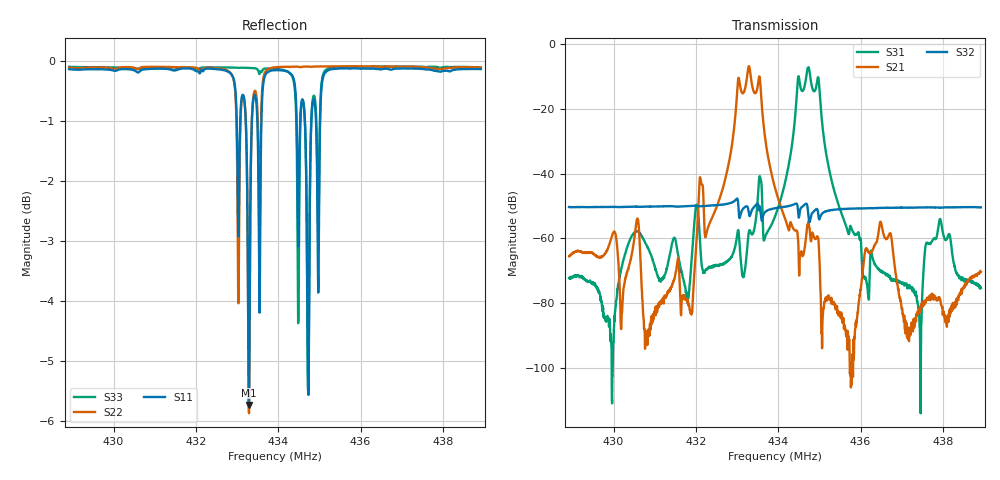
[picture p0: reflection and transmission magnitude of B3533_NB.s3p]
! Matrix data file written by TouchstoneData, EPCOS AG
! FILENAME: "newformat_LZ05A_NB.s3p"
! COMMENT: "(LZ05A_NB.s3p) Epcos AG 31.01.2012 10:27:16"
! INFO: nport=3, nfreq=1601
! DATE: "Tue Jan 31 14:09:12 2012"
! USER: "Wilfried Schott"
! port | pin | signal
!  1  |  1  |  IN
!  2  |  5  |  OUT CH3
!  3  |  7  |  OUT CH2
# MHZ S MA R 50
! freq  magS11 angS11  magS12 angS12  magS13 angS13  ...
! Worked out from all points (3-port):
!   1601 points, 428.92 MHz to 438.92 MHz, reference 50 ohm
!   strongest paths, dB at 428.92 MHz, 431.42 MHz, 433.92 MHz, 436.42 MHz, 438.92 MHz:
!     S32: -50.3, -50.1, -50.7, -50.6, -50.4
!     S21: -65.6, -74.7, -44.4, -59.4, -70.4
!     S31: -72.3, -61.6, -53.2, -69.3, -75.3
!   lowest |S11| = -5.7 dB at 433.28 MHz (marker M1), VSWR 3.14, Z = 79.6 - j70.2 ohm
!   |S11| at or under -10 dB: nowhere
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428.92  0.9839 -34.1  0.0005211 -40.3  0.0002432 -137.3
        0.0005272 -40.0  0.9865 -19.7  0.003033 69.4
        0.0002431 -135.1  0.003051 69.4  0.9882 -20.1
431.87  0.9847 -35.7  6.499e-05 112.1  0.0002846 -2.0
        6.91e-05 104.9  0.9874 -20.9  0.003165 68.3
        0.0002859 -2.3  0.003177 68.5  0.9864 -20.7
432.1138  0.9798 -35.7  0.008087 89.3  0.0006272 162.6
          0.00806 89.2  0.981 -20.9  0.003133 67.9
          0.0006312 163.8  0.003136 68.2  0.9862 -20.5
433.2825  0.5167 -38.7  0.4595 157.5  0.001234 -86.2
          0.4581 157.4  0.5149 -23.4  0.002556 49.4
          0.001236 -86.4  0.002565 49.6  0.9862 -21.6
433.92  0.9818 -32.3  0.006065 -108.5  0.002178 59.2
        0.006026 -108.5  0.9873 -15.5  0.002913 69.8
        0.002178 59.2  0.002924 70.0  0.9844 -22.9
434.7325  0.5267 -28.1  0.001718 -67.6  0.443 146.6
          0.001802 -69.3  0.9886 -17.8  0.002226 34.7
          0.4436 146.6  0.002243 36.5  0.5401 -12.0
435.0825  0.9671 -23.0  6.666e-05 -78.0  0.04775 -92.6
          6.476e-05 -74.8  0.989 -18.1  0.002475 73.8
          0.04775 -92.6  0.002474 73.8  0.9726 -11.3
436.1637  0.9849 -31.4  0.0006651 -68.2  0.0001811 -129.4
          0.000665 -68.0  0.9888 -18.7  0.002922 70.9
          0.0001726 -125.9  0.002921 71.1  0.9886 -18.5
437.9325  0.979 -33.0  0.0001117 -78.8  0.00199 158.4
          0.0001111 -72.0  0.9842 -19.2  0.002977 69.8
          0.001988 158.5  0.002966 69.9  0.9863 -19.7
438.92  0.984 -33.5  0.0003022 -137.2  0.0001752 -138.6
        0.0003036 -138.1  0.9865 -19.6  0.003008 69.5
        0.0001708 -136.0  0.003011 69.3  0.9869 -20.1
